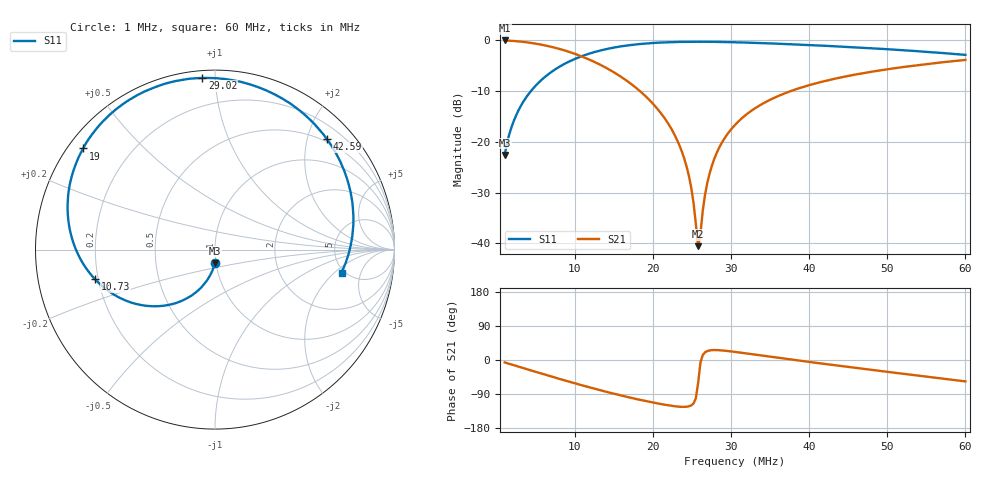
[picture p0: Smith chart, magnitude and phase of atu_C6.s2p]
! S11/S21 from S-A-A-2 VNA
! Written 2026-11-14 07:45:15 by the saav2 MCP server
! S12 and S22 were not measured (1.5-port VNA) and are written as 0
# HZ S RI R 50
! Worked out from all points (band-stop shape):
!   201 points, 1 MHz to 60 MHz, reference 50 ohm
!   highest |S21| = -0.05 dB at 1 MHz (marker M1); lowest = -40.6 dB at 25.78 MHz (marker M2)
!   |S21| within 3 dB of the highest: start of sweep to 10.63 MHz
!   lowest |S11| = -22.6 dB at 1 MHz (marker M3), VSWR 1.16, Z = 49.4 - j7.36 ohm
!   |S11| at or under -10 dB: start of sweep to 4.383 MHz
!   S12 and S22 are empty: the file has one direction only
!   S11 on the Smith chart (normalised r, x): 1 MHz: 0.99, -0.15; 10.73 MHz: 0.19, -0.12; 19 MHz: 0.04, +0.34; 29.02 MHz: 0.04, +0.93; 42.59 MHz: 0.45, +2.37; 60 MHz: 4.69, -2.50
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1000000  -0.000594 -0.0741  0.9878 -0.1092  0 0  0 0
2180000  -0.0351 -0.1568  0.9542 -0.2328  0 0  0 0
3950000  -0.1301 -0.2557  0.8625 -0.3993  0 0  0 0
7195000  -0.3891 -0.3124  0.6044 -0.6006  0 0  0 0
1.0735e7  -0.669 -0.1645  0.2871 -0.6371  0 0  0 0
1.103e7  -0.6879 -0.1437  0.2623 -0.6322  0 0  0 0
1.4865e7  -0.8198 0.1921  0.0142 -0.4896  0 0  0 0
1.8995e7  -0.7348 0.5633  -0.0877 -0.2696  0 0  0 0
2.0765e7  -0.6447 0.6921  -0.0863 -0.1826  0 0  0 0
2.283e7  -0.514 0.81  -0.0608 -0.0969  0 0  0 0
2.4305e7  -0.4108 0.8718  -0.0313 -0.0475  0 0  0 0
2.519e7  -0.3473 0.8999  -0.0105 -0.0228  0 0  0 0
2.578e7  -0.3049 0.9152  0.0046 -0.00818  0 0  0 0
2.696e7  -0.2187 0.9393  0.0364 0.0159  0 0  0 0
2.7845e7  -0.1547 0.9502  0.0608 0.0301  0 0  0 0
2.9025e7  -0.0706 0.9568  0.0944 0.0437  0 0  0 0
3.05e7  0.0299 0.9527  0.1364 0.0534  0 0  0 0
3.463e7  0.2845 0.8874  0.2471 0.0427  0 0  0 0
4.053e7  0.5554 0.6981  0.3682 -0.0423  0 0  0 0
4.2595e7  0.624 0.6153  0.3972 -0.0847  0 0  0 0
5.0265e7  0.7622 0.281  0.4422 -0.2749  0 0  0 0
6e7  0.7051 -0.1295  0.3533 -0.5332  0 0  0 0
